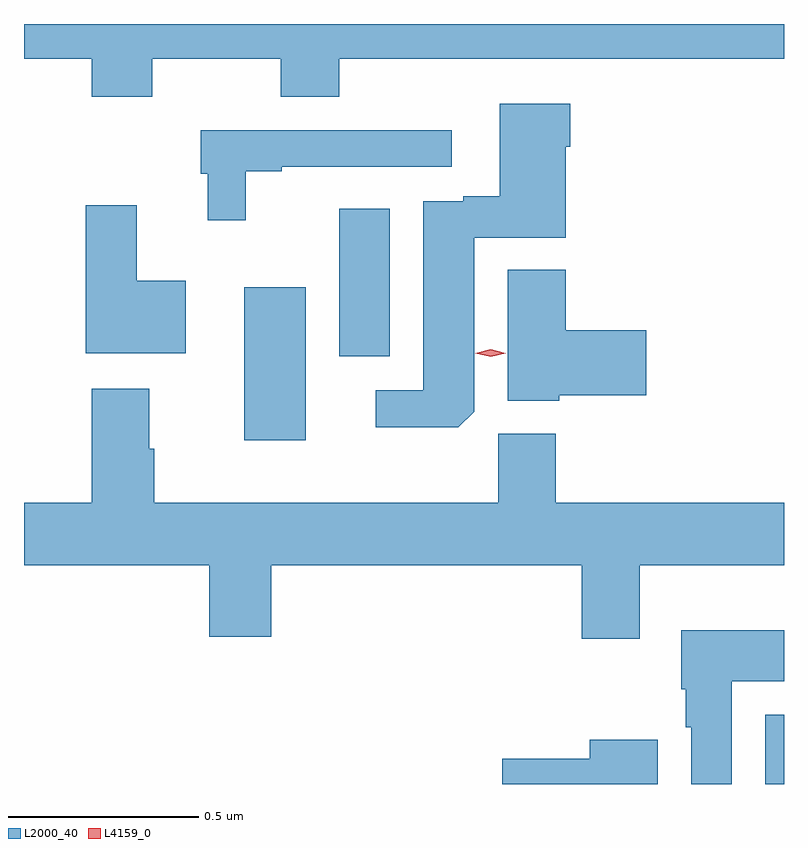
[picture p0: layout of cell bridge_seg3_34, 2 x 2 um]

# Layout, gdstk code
import gdstk
lib = gdstk.Library(unit=1e-6, precision=1e-09)
def R(c, l, rs):  # rectangles x0, y0, x1, y1
    for r in rs: c.add(gdstk.rectangle(r[:2], r[2:], *l))
def P(c, l, *ps):  # polygons
    for p in ps: c.add(gdstk.Polygon(p, *l))
L2000_40 = (2000, 40)
L4159_0 = (4159, 0)

bridge_seg3_34 = lib.new_cell('bridge_seg3_34')
R(bridge_seg3_34, L2000_40, [(717.92,699.008,717.969,699.19), (716.549,699.912,716.71,700.315), (716.798,700.134,716.932,700.522)])
P(bridge_seg3_34, L2000_40, [(716.307,700.916),(716.644,700.916),(716.644,700.817),(716.799,700.817),(716.799,700.916),(717.969,700.916),(717.969,701.008),(715.969,701.008),(715.969,700.916),(716.147,700.916),(716.147,700.817),(716.307,700.817)],
  [(717.154,699.988),(717.154,700.446),(717.394,700.446),(717.394,700.685),(717.407,700.685),(717.407,700.798),(717.221,700.798),(717.221,700.555),(717.125,700.555),(717.125,700.542),(717.02,700.542),(717.02,700.044),(716.895,700.044),(716.895,699.947),(717.112,699.947)],
  [(716.553,700.62),(716.647,700.62),(716.647,700.632),(717.094,700.632),(717.094,700.728),(716.434,700.728),(716.434,700.614),(716.453,700.614),(716.453,700.491),(716.553,700.491)],
  [(716.395,700.333),(716.266,700.333),(716.266,700.531),(716.132,700.531),(716.132,700.142),(716.395,700.142)],
  [(717.378,700.031),(717.607,700.031),(717.607,700.202),(717.395,700.202),(717.395,700.361),(717.242,700.361),(717.242,700.016),(717.378,700.016)],
  [(717.589,699.584),(717.969,699.584),(717.969,699.748),(717.368,699.748),(717.368,699.93),(717.217,699.93),(717.217,699.748),(716.312,699.748),(716.312,699.89),(716.299,699.89),(716.299,700.048),(716.147,700.048),(716.147,699.748),(715.969,699.748),(715.969,699.584),(716.456,699.584),(716.456,699.396),(716.62,699.396),(716.62,699.584),(717.437,699.584),(717.437,699.39),(717.589,699.39)],
  [(717.832,699.278),(717.969,699.278),(717.969,699.412),(717.698,699.412),(717.698,699.258),(717.71,699.258),(717.71,699.158),(717.725,699.158),(717.725,699.008),(717.832,699.008)],
  [(717.637,699.124),(717.458,699.124),(717.458,699.074),(717.228,699.074),(717.228,699.008),(717.637,699.008)])
P(bridge_seg3_34, L4159_0, [(717.197,700.132),(717.157,700.142),(717.156,700.142),(717.157,700.142),(717.197,700.152),(717.237,700.142),(717.237,700.142),(717.237,700.142)])

lib.write_gds('bridge_seg3_34.gds')
